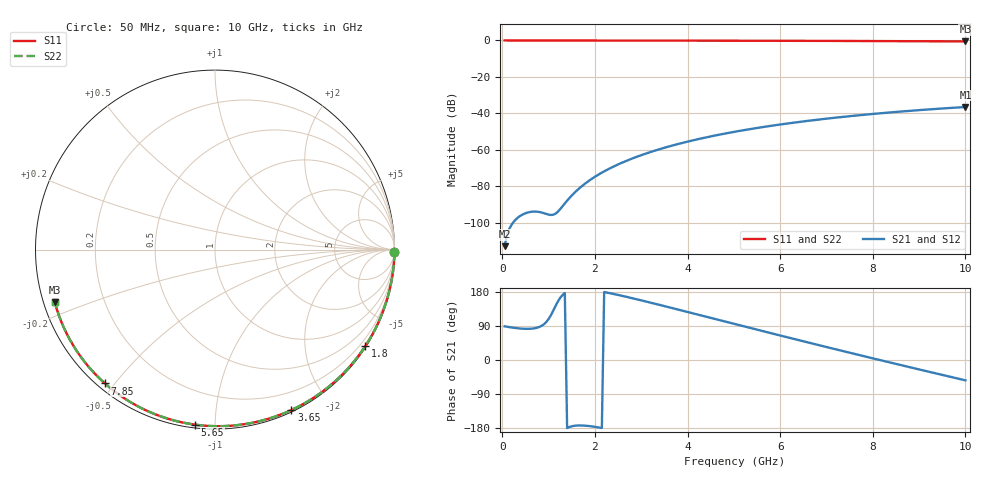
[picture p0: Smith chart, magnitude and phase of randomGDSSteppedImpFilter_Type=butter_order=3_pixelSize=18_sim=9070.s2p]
! freq	dB(S11)	phase(S11)	dB(S12)	phase(S12)
!  dB(S21)	phase(S21)	dB(S22)	phase(S22)
!S-par simulation data
#  GHz  S  DB  R 50
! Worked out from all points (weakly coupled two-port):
!   200 points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, 50 MHz to 10 GHz, reference 50 ohm
!   highest |S21| = -36.54 dB at 10 GHz (marker M1); lowest = -112.9 dB at 50 MHz (marker M2)
!   lowest |S11| = -0.5 dB at 10 GHz (marker M3), VSWR 32.18, Z = 1.59 - j8 ohm
!   |S11| at or under -10 dB: nowhere
!   |S22| runs from -0.5 to 0.0 dB; largest |S21 - S12| = 0
!   S11 on the Smith chart (normalised r, x): 50 MHz: open; 1.8 GHz: 0.03, -3.41; 3.65 GHz: 0.02, -1.58; 5.65 GHz: 0.02, -0.89; 7.85 GHz: 0.02, -0.47; 10 GHz: 0.03, -0.16
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0.05  -0.00 -0.9  -112.91 88.9  -112.91 88.9  -0.00 -0.9
0.45  -0.01 -8.3  -95.38 82.5  -95.38 82.5  -0.01 -8.3
0.9  -0.02 -16.5  -94.79 94.5  -94.79 94.5  -0.02 -16.5
1.7  -0.04 -30.9  -80.34 -172.7  -80.34 -172.7  -0.04 -30.9
1.75  -0.04 -31.8  -79.31 -173.0  -79.31 -173.0  -0.04 -31.8
1.8  -0.04 -32.7  -78.33 -173.4  -78.33 -173.4  -0.04 -32.7
2.1  -0.05 -38.0  -73.28 -178.4  -73.28 -178.4  -0.05 -38.0
2.3  -0.05 -41.5  -70.50 177.0  -70.50 177.0  -0.05 -41.5
2.5  -0.06 -45.0  -68.05 171.7  -68.05 171.7  -0.06 -45.0
2.9  -0.07 -51.9  -63.88 160.4  -63.88 160.4  -0.07 -51.9
3.4  -0.08 -60.4  -59.65 145.3  -59.65 145.3  -0.08 -60.4
3.65  -0.09 -64.5  -57.82 137.6  -57.82 137.6  -0.09 -64.5
4.3  -0.11 -75.2  -53.76 117.4  -53.76 117.4  -0.11 -75.2
5.05  -0.13 -87.2  -49.97 94.0  -49.97 94.0  -0.13 -87.2
5.65  -0.16 -96.5  -47.44 75.4  -47.44 75.4  -0.16 -96.5
6.15  -0.19 -104.1  -45.60 60.1  -45.60 60.1  -0.19 -104.1
6.7  -0.22 -112.4  -43.81 43.3  -43.81 43.3  -0.22 -112.4
7.25  -0.26 -120.5  -42.23 26.7  -42.23 26.7  -0.26 -120.5
7.85  -0.31 -129.4  -40.69 8.8  -40.69 8.8  -0.31 -129.4
8.35  -0.35 -136.8  -39.55 -5.9  -39.55 -5.9  -0.35 -136.8
9.2  -0.44 -149.5  -37.86 -30.7  -37.86 -30.7  -0.44 -149.5
10  -0.54 -161.8  -36.54 -53.7  -36.54 -53.7  -0.54 -161.8
